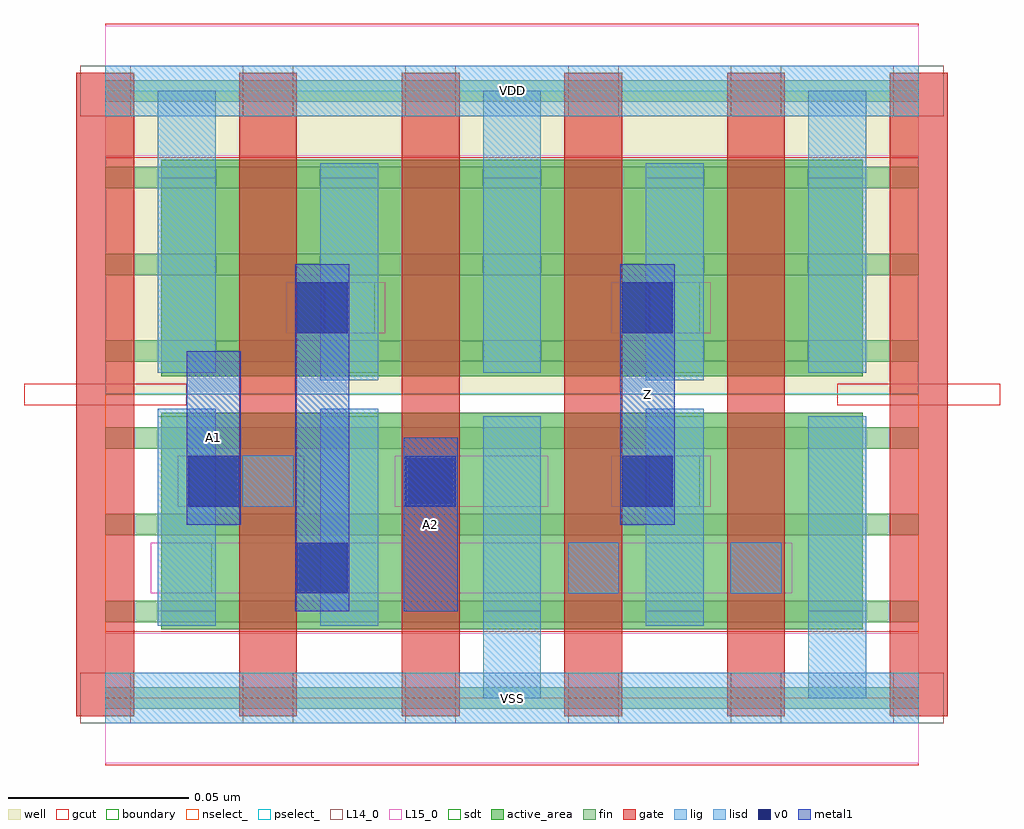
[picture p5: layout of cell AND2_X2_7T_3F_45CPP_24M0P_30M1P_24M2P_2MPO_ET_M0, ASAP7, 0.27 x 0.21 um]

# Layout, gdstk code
import gdstk
lib = gdstk.Library(unit=1e-6, precision=2.5e-10)
def R(c, l, rs):  # rectangles x0, y0, x1, y1
    for r in rs: c.add(gdstk.rectangle(r[:2], r[2:], *l))
def A(c, l, x, y, w, h, nx, ny, dx, dy):  # array of equal rectangles
    R(c, l, [(x+i*dx, y+j*dy, x+i*dx+w, y+j*dy+h) for i in range(nx) for j in range(ny)])
well = (1, 0)
fin = (2, 0)
gate = (7, 0)
gcut = (10, 0)
active_area = (11, 0)
nselect_ = (12, 0)
pselect_ = (13, 0)
L14_0 = (14, 0)
L15_0 = (15, 0)
lig = (16, 0)
lisd = (17, 0)
v0 = (18, 0)
metal1 = (19, 0)
sdt = (88, 0)
boundary = (100, 0)

and2_x2_7t_3f_45cpp_24m0 = lib.new_cell('AND2_X2_7T_3F_45CPP_24M0P_30M1P_24M2P_2MPO_ET_M0')
R(and2_x2_7t_3f_45cpp_24m0, well, [(0,0.084,0.225,0.168)])
A(and2_x2_7t_3f_45cpp_24m0, fin, 0, -0.003, 0.225, 0.006, 1, 8, 0, 0.024)
A(and2_x2_7t_3f_45cpp_24m0, gate, -0.008, -0.005, 0.016, 0.178, 6, 1, 0.045, 0)
R(and2_x2_7t_3f_45cpp_24m0, gcut, [(0,-0.0185,0.225,0.0185), (-0.0225,0.081,0.0225,0.087), (0.2025,0.081,0.2475,0.087), (0,0.1495,0.225,0.1865)])
R(and2_x2_7t_3f_45cpp_24m0, active_area, [(0.0155,0.019,0.0745,0.079), (0.0605,0.019,0.1195,0.079), (0.1055,0.019,0.2095,0.079), (0.0155,0.089,0.0745,0.149), (0.0605,0.089,0.1195,0.149), (0.1055,0.089,0.2095,0.149)])
R(and2_x2_7t_3f_45cpp_24m0, nselect_, [(0,0,0.225,0.084)])
R(and2_x2_7t_3f_45cpp_24m0, pselect_, [(0,0.084,0.225,0.168)])
A(and2_x2_7t_3f_45cpp_24m0, L14_0, -0.007, -0.007, 0.014, 0.014, 6, 2, 0.045, 0.168)
R(and2_x2_7t_3f_45cpp_24m0, L14_0, [(0.0155,0.029,0.0295,0.043), (0.128,0.029,0.142,0.043), (0.173,0.029,0.187,0.043), (0.038,0.053,0.052,0.067), (0.083,0.053,0.097,0.067), (0.1505,0.053,0.1645,0.067), (0.0605,0.101,0.0745,0.115), (0.1505,0.101,0.1645,0.115)])
R(and2_x2_7t_3f_45cpp_24m0, L15_0, [(0,-0.018,0.225,0.018), (0.0125,0.029,0.19,0.043), (0.02,0.053,0.055,0.067), (0.08,0.053,0.1225,0.067), (0.14,0.053,0.1675,0.067), (0.05,0.101,0.0775,0.115), (0.14,0.101,0.1675,0.115), (0,0.15,0.225,0.186)])
R(and2_x2_7t_3f_45cpp_24m0, lig, [(0,-0.007,0.225,0.007), (0.128,0.029,0.142,0.043), (0.173,0.029,0.187,0.043), (0.038,0.053,0.052,0.067), (0.083,0.053,0.097,0.067), (0,0.161,0.225,0.175)])
A(and2_x2_7t_3f_45cpp_24m0, lisd, 0.0145, 0.09, 0.016, 0.078, 3, 1, 0.09, 0)
R(and2_x2_7t_3f_45cpp_24m0, lisd, [(0.1045,0,0.1205,0.078), (0.1945,0,0.2105,0.078), (0.0145,0.02,0.0305,0.08), (0.0595,0.02,0.0755,0.08), (0.1495,0.02,0.1655,0.08), (0.0595,0.088,0.0755,0.148), (0.1495,0.088,0.1655,0.148)])
A(and2_x2_7t_3f_45cpp_24m0, v0, 0.023, 0.053, 0.014, 0.014, 3, 1, 0.06, 0)
R(and2_x2_7t_3f_45cpp_24m0, v0, [(0.053,0.029,0.067,0.043), (0.053,0.101,0.067,0.115), (0.143,0.101,0.157,0.115)])
R(and2_x2_7t_3f_45cpp_24m0, metal1, [(0.0525,0.024,0.0675,0.12), (0.0825,0.024,0.0975,0.072), (0.0225,0.048,0.0375,0.096), (0.1425,0.048,0.1575,0.12)])
A(and2_x2_7t_3f_45cpp_24m0, sdt, 0.0145, 0.024, 0.016, 0.054, 5, 2, 0.045, 0.066)
R(and2_x2_7t_3f_45cpp_24m0, boundary, [(0,0,0.225,0.168)])
and2_x2_7t_3f_45cpp_24m0.add(gdstk.Label('Z', (0.15,0.084), layer=19, texttype=251))
and2_x2_7t_3f_45cpp_24m0.add(gdstk.Label('A1', (0.03,0.072), layer=19, texttype=251))
and2_x2_7t_3f_45cpp_24m0.add(gdstk.Label('A2', (0.09,0.048), layer=19, texttype=251))
and2_x2_7t_3f_45cpp_24m0.add(gdstk.Label('VDD', (0.1125,0.168), layer=15, texttype=251))
and2_x2_7t_3f_45cpp_24m0.add(gdstk.Label('VSS', (0.1125,0), layer=15, texttype=251))
and2_x2_7t_3f_45cpp_24m0.add(gdstk.Label('VDD', (0.1125,0.168), layer=1, texttype=251))
and2_x2_7t_3f_45cpp_24m0.add(gdstk.Label('VSS', (0.1125,0), layer=3, texttype=251))

lib.write_gds('AND2_X2_7T_3F_45CPP_24M0P_30M1P_24M2P_2MPO_ET_M0.gds')
